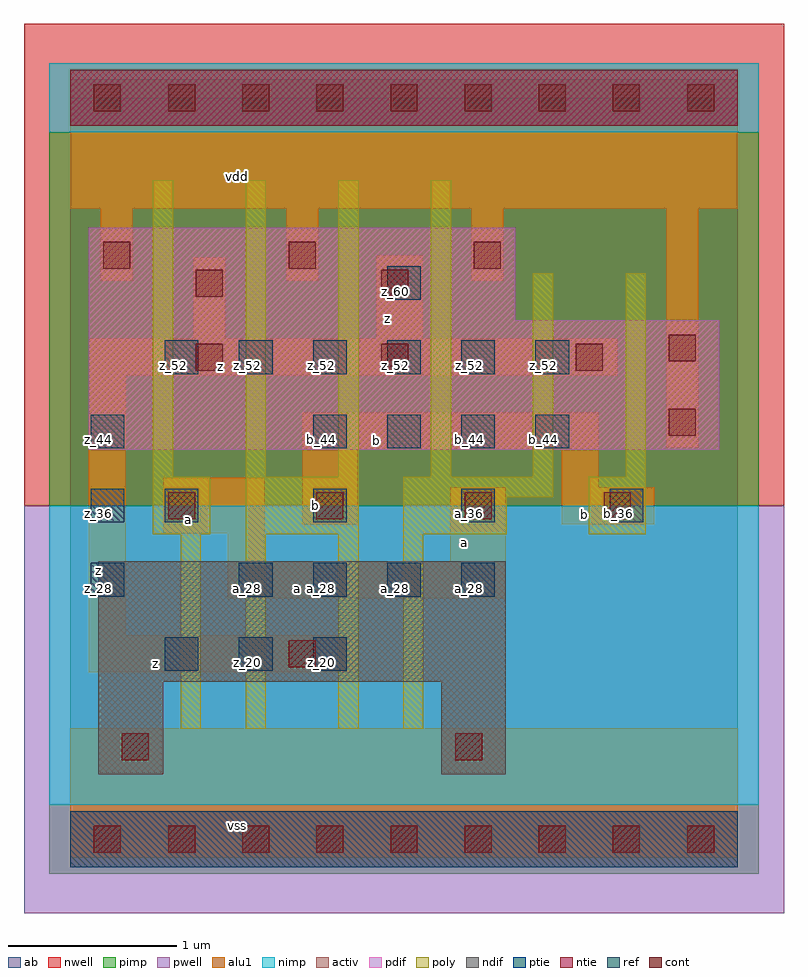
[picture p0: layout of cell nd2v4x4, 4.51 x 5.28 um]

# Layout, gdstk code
import gdstk
lib = gdstk.Library(unit=1e-6, precision=2.5e-09)
def R(c, l, rs):  # rectangles x0, y0, x1, y1
    for r in rs: c.add(gdstk.rectangle(r[:2], r[2:], *l))
def A(c, l, x, y, w, h, nx, ny, dx, dy):  # array of equal rectangles
    R(c, l, [(x+i*dx, y+j*dy, x+i*dx+w, y+j*dy+h) for i in range(nx) for j in range(ny)])
ndif = (3, 0)
pdif = (4, 0)
ntie = (5, 0)
ptie = (6, 0)
ref = (24, 0)
cont = (25, 0)
pwell = (41, 0)
nwell = (42, 0)
activ = (43, 0)
pimp = (44, 0)
nimp = (45, 0)
poly = (46, 0)
alu1 = (49, 0)
ab = (63, 0)

nd2v4x4 = lib.new_cell('nd2v4x4')
R(nd2v4x4, ndif, [(0.165,0.385,0.55,0.935), (2.2,0.385,2.585,0.935), (0.165,0.935,2.585,1.65)])
R(nd2v4x4, pdif, [(0.11,2.31,3.85,3.08), (0.11,3.08,2.64,3.63)])
R(nd2v4x4, ntie, [(0,4.235,3.96,4.565)])
R(nd2v4x4, ptie, [(0,-0.165,3.96,0.165)])
A(nd2v4x4, ref, 0.56, 1, 0.2, 0.2, 3, 1, 0.44, 0)
A(nd2v4x4, ref, 0.12, 1.44, 0.2, 0.2, 1, 3, 0, 0.44)
A(nd2v4x4, ref, 1, 1.44, 0.2, 0.2, 4, 1, 0.44, 0)
A(nd2v4x4, ref, 0.56, 1.88, 0.2, 0.2, 4, 1, 0.88, 0)
A(nd2v4x4, ref, 1.44, 2.32, 0.2, 0.2, 4, 1, 0.44, 0)
A(nd2v4x4, ref, 0.56, 2.76, 0.2, 0.2, 6, 1, 0.44, 0)
R(nd2v4x4, ref, [(1.88,3.2,2.08,3.4)])
A(nd2v4x4, cont, 0.14, -0.08, 0.16, 0.16, 9, 2, 0.44, 4.4)
A(nd2v4x4, cont, 0.58, 1.9, 0.16, 0.16, 3, 1, 0.88, 0)
A(nd2v4x4, cont, 0.195, 3.385, 0.16, 0.16, 3, 1, 1.1, 0)
R(nd2v4x4, cont, [(0.305,0.47,0.465,0.63), (2.285,0.47,2.445,0.63), (1.295,1.02,1.455,1.18), (3.165,1.9,3.325,2.06), (3.55,2.395,3.71,2.555), (0.745,2.78,0.905,2.94), (1.845,2.78,2.005,2.94), (3,2.78,3.16,2.94), (3.55,2.835,3.71,2.995), (0.745,3.22,0.905,3.38), (1.845,3.22,2.005,3.38)])
R(nd2v4x4, pwell, [(-0.275,-0.44,4.235,1.98)])
R(nd2v4x4, nwell, [(-0.275,1.98,4.235,4.84)])
R(nd2v4x4, activ, [(0,-0.165,3.96,0.165), (0.165,0.385,0.55,0.935), (2.2,0.385,2.585,0.935), (0.165,0.935,2.585,1.65), (0.11,2.31,3.85,3.08), (0.11,3.08,2.64,3.63), (0,4.235,3.96,4.565)])
R(nd2v4x4, pimp, [(-0.125,-0.205,4.085,0.205), (-0.125,1.98,4.085,4.195)])
R(nd2v4x4, nimp, [(-0.125,0.205,4.085,1.98), (-0.125,4.195,4.085,4.605)])
A(nd2v4x4, poly, 0.49, 2.15, 0.12, 1.76, 4, 1, 0.55, 0)
R(nd2v4x4, poly, [(0.655,0.655,0.775,1.81), (1.04,0.655,1.16,1.81), (1.59,0.655,1.71,1.81), (1.975,0.655,2.095,1.81), (0.49,1.81,0.83,2.15), (1.04,1.81,1.71,2.15), (1.975,1.81,2.59,2.03), (3.075,1.81,3.415,2.15), (1.975,2.03,2.865,2.15), (2.745,2.15,2.865,3.36), (3.295,2.15,3.415,3.36)])
A(nd2v4x4, alu1, 0.18, 3.315, 0.19, 0.425, 3, 1, 1.1, 0)
R(nd2v4x4, alu1, [(0,-0.11,3.96,0.66), (0.11,0.99,1.705,1.21), (0.11,1.21,0.33,2.75), (0.935,1.43,2.585,1.65), (0.935,1.65,1.155,1.815), (2.255,1.65,2.585,2.09), (0.55,1.815,1.155,2.145), (1.375,1.87,1.705,2.31), (2.915,1.87,3.465,2.09), (2.915,2.09,3.135,2.31), (1.375,2.31,3.135,2.53), (3.535,2.325,3.725,3.74), (0.11,2.75,3.245,2.97), (0.73,2.97,0.92,3.45), (1.815,2.97,2.09,3.465), (0,3.74,3.96,4.51)])
R(nd2v4x4, ab, [(0,0,3.96,4.4)])
nd2v4x4.add(gdstk.Label('vss', (0.99,0.0825), layer=49, texttype=0))
nd2v4x4.add(gdstk.Label('z', (0.5075,1.045), layer=49, texttype=0))
nd2v4x4.add(gdstk.Label('a', (1.3475,1.485), layer=49, texttype=0))
nd2v4x4.add(gdstk.Label('b', (3.0525,1.925), layer=49, texttype=0))
nd2v4x4.add(gdstk.Label('a', (2.3375,1.76), layer=49, texttype=0))
nd2v4x4.add(gdstk.Label('b', (1.4575,1.98), layer=49, texttype=0))
nd2v4x4.add(gdstk.Label('a', (0.7,1.8975), layer=49, texttype=0))
nd2v4x4.add(gdstk.Label('b', (1.815,2.365), layer=49, texttype=0))
nd2v4x4.add(gdstk.Label('z', (0.165,1.595), layer=49, texttype=0))
nd2v4x4.add(gdstk.Label('z', (0.8925,2.805), layer=49, texttype=0))
nd2v4x4.add(gdstk.Label('z', (1.8825,3.0925), layer=49, texttype=0))
nd2v4x4.add(gdstk.Label('vdd', (0.99,3.9325), layer=49, texttype=0))
nd2v4x4.add(gdstk.Label('z_20', (0.61,1.05), layer=24, texttype=0))
nd2v4x4.add(gdstk.Label('a_36', (0.61,1.93), layer=24, texttype=0))
nd2v4x4.add(gdstk.Label('z_52', (0.61,2.81), layer=24, texttype=0))
nd2v4x4.add(gdstk.Label('z_20', (1.05,1.05), layer=24, texttype=0))
nd2v4x4.add(gdstk.Label('a_28', (1.05,1.49), layer=24, texttype=0))
nd2v4x4.add(gdstk.Label('z_52', (1.05,2.81), layer=24, texttype=0))
nd2v4x4.add(gdstk.Label('z_20', (1.49,1.05), layer=24, texttype=0))
nd2v4x4.add(gdstk.Label('a_28', (1.49,1.49), layer=24, texttype=0))
nd2v4x4.add(gdstk.Label('b_36', (1.49,1.93), layer=24, texttype=0))
nd2v4x4.add(gdstk.Label('b_44', (1.49,2.37), layer=24, texttype=0))
nd2v4x4.add(gdstk.Label('z_52', (1.49,2.81), layer=24, texttype=0))
nd2v4x4.add(gdstk.Label('a_28', (1.93,1.49), layer=24, texttype=0))
nd2v4x4.add(gdstk.Label('b_44', (1.93,2.37), layer=24, texttype=0))
nd2v4x4.add(gdstk.Label('z_52', (1.93,2.81), layer=24, texttype=0))
nd2v4x4.add(gdstk.Label('z_60', (1.93,3.25), layer=24, texttype=0))
nd2v4x4.add(gdstk.Label('z_28', (0.17,1.49), layer=24, texttype=0))
nd2v4x4.add(gdstk.Label('z_36', (0.17,1.93), layer=24, texttype=0))
nd2v4x4.add(gdstk.Label('z_44', (0.17,2.37), layer=24, texttype=0))
nd2v4x4.add(gdstk.Label('a_28', (2.37,1.49), layer=24, texttype=0))
nd2v4x4.add(gdstk.Label('a_36', (2.37,1.93), layer=24, texttype=0))
nd2v4x4.add(gdstk.Label('b_44', (2.37,2.37), layer=24, texttype=0))
nd2v4x4.add(gdstk.Label('z_52', (2.37,2.81), layer=24, texttype=0))
nd2v4x4.add(gdstk.Label('b_44', (2.81,2.37), layer=24, texttype=0))
nd2v4x4.add(gdstk.Label('z_52', (2.81,2.81), layer=24, texttype=0))
nd2v4x4.add(gdstk.Label('b_36', (3.25,1.93), layer=24, texttype=0))

lib.write_gds('nd2v4x4.gds')
